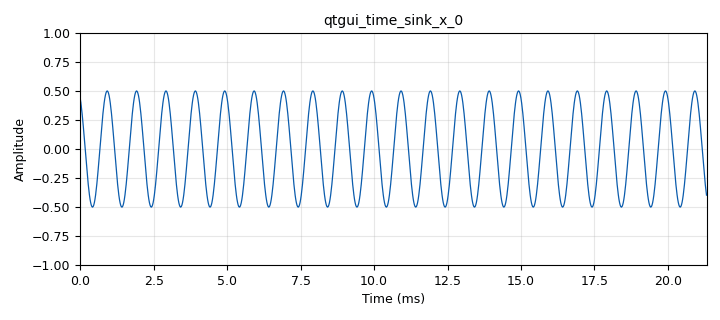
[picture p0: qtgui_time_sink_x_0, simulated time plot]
options:
  parameters:
    catch_exceptions: 'False'
    generate_options: qt_gui
    id: test_serial
    output_language: python
    realtime_scheduling: '1'
    title: Not titled yet
  states: {}

blocks:
- name: Frecuencia
  id: variable_qtgui_range
  parameters:
    label: Frecuencia
    start: '100'
    step: '100'
    stop: '8000'
    value: '1000'
  states: {}
- name: samp_rate
  id: variable
  parameters:
    value: '48000'
  states: {}
- name: valor
  id: variable_qtgui_range
  parameters:
    label: Valor
    start: '-1'
    step: '0.1'
    stop: '1'
    value: '0.5'
  states: {}
- name: analog_sig_source_x_0
  id: analog_sig_source_x
  parameters:
    amp: valor
    freq: Frecuencia
    offset: '0'
    phase: '0'
    samp_rate: samp_rate
    type: float
    waveform: analog.GR_SIN_WAVE
  states: {}
- name: qtgui_time_sink_x_0
  id: qtgui_time_sink_x
  parameters:
    ctrlpanel: 'True'
    size: '1024'
    srate: samp_rate
    type: float
  states: {}
- name: serializer_serializer_0
  id: serializer_serializer
  parameters:
    board: 'True'
    device: /dev/ttyUSB1
    mode: data
    samp_rate: samp_rate
  states: {}

connections:
- [analog_sig_source_x_0, '0', qtgui_time_sink_x_0, '0']
- [analog_sig_source_x_0, '0', serializer_serializer_0, '0']

metadata:
  file_format: 1
